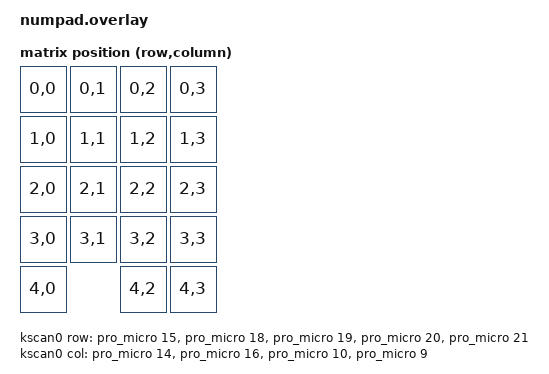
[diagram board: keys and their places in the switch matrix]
#include <dt-bindings/zmk/matrix_transform.h>

/ {
    chosen {
        zmk,kscan = &kscan0;
        zmk,matrix-transform = &default_transform;
    };

    kscan0: kscan_0 {
        compatible = "zmk,kscan-gpio-matrix";
        diode-direction = "col2row";
        label = "default_kscan";
        wakeup-source;

        col-gpios
            = <&pro_micro 14 GPIO_ACTIVE_HIGH>
            , <&pro_micro 16 GPIO_ACTIVE_HIGH>
            , <&pro_micro 10 GPIO_ACTIVE_HIGH>
            , <&pro_micro 9 GPIO_ACTIVE_HIGH>
            ;

        row-gpios
            = <&pro_micro 15 (GPIO_ACTIVE_HIGH | GPIO_PULL_DOWN)>
            , <&pro_micro 18 (GPIO_ACTIVE_HIGH | GPIO_PULL_DOWN)>
            , <&pro_micro 19 (GPIO_ACTIVE_HIGH | GPIO_PULL_DOWN)>
            , <&pro_micro 20 (GPIO_ACTIVE_HIGH | GPIO_PULL_DOWN)>
            , <&pro_micro 21 (GPIO_ACTIVE_HIGH | GPIO_PULL_DOWN)>
            ;
    };

    default_transform: matrix_transform {
        compatible = "zmk,matrix-transform";
        rows = <5>;
        columns = <4>;
        // ┌───┬───┬───┬───┐
        // │num│ =+│/? │ FN│
        // ├───┼───┼───┼───┤
        // │ 7 │ 8 │ 9 │ * │
        // ├───┼───┼───┼───│
        // │ 4 │ 5 │ 6 │ - │
        // ├───┼───┼───┼───┤
        // │ 1 │ 2 │ 3 | + │
        // ├───┴───┼───┼───│
        // │ num   │del│RET│
        // └───────┴───┴───┘
        map = <
            RC(0,0) RC(0,1) RC(0,2) RC(0,3)
            RC(1,0) RC(1,1) RC(1,2) RC(1,3)
            RC(2,0) RC(2,1) RC(2,2) RC(2,3)
            RC(3,0) RC(3,1) RC(3,2) RC(3,3)
            RC(4,0)         RC(4,2) RC(4,3)
        >;    
    };
};
 
&pro_micro_i2c {
    status = "okay";

    glidepoint: glidepoint@2a {
        compatible = "cirque,pinnacle";
        reg = <0x2a>;
        status = "okay";
        //dr-gpios = <&gpio1 1 (GPIO_ACTIVE_HIGH)>;

        sensitivity = "4x";
        // sleep;
        no-taps;
    };
};
/ {
  glidepoint_listener {
    compatible = "zmk,input-listener";
    device = <&glidepoint>;

    xy-swap;
    y-invert;
    x-invert;
  };
};

//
